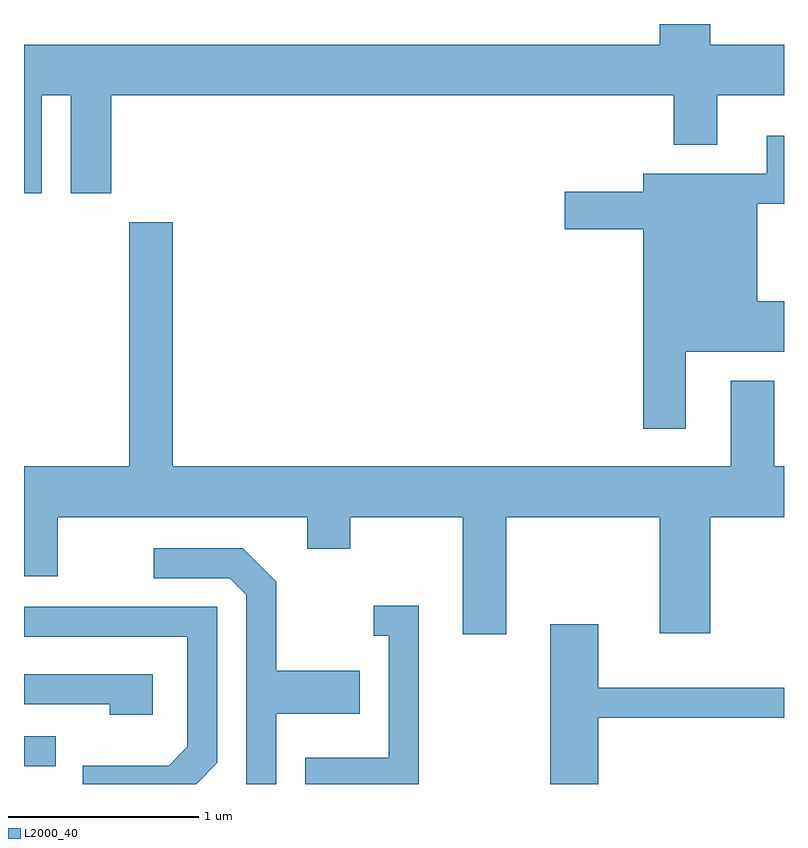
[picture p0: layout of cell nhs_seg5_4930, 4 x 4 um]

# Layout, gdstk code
import gdstk
lib = gdstk.Library(unit=1e-6, precision=1e-09)
def R(c, l, rs):  # rectangles x0, y0, x1, y1
    for r in rs: c.add(gdstk.rectangle(r[:2], r[2:], *l))
def P(c, l, *ps):  # polygons
    for p in ps: c.add(gdstk.Polygon(p, *l))
L2000_40 = (2000, 40)

nhs_seg5_4930 = lib.new_cell('nhs_seg5_4930')
R(nhs_seg5_4930, L2000_40, [(331.611,1442.166,331.778,1442.324)])
P(nhs_seg5_4930, L2000_40, [(331.704,1445.696),(331.856,1445.696),(331.856,1445.181),(332.069,1445.181),(332.069,1445.696),(335.031,1445.696),(335.031,1445.436),(335.259,1445.436),(335.259,1445.696),(335.611,1445.696),(335.611,1445.964),(335.224,1445.964),(335.224,1446.072),(334.956,1446.072),(334.956,1445.964),(331.611,1445.964),(331.611,1445.181),(331.704,1445.181)],
  [(335.094,1444.346),(335.611,1444.346),(335.611,1444.614),(335.469,1444.614),(335.469,1445.126),(335.611,1445.126),(335.611,1445.484),(335.521,1445.484),(335.521,1445.284),(334.871,1445.284),(334.871,1445.189),(334.456,1445.189),(334.456,1444.991),(334.871,1444.991),(334.871,1443.941),(335.094,1443.941)],
  [(334.149,1443.476),(334.956,1443.476),(334.956,1442.866),(335.224,1442.866),(335.224,1443.476),(335.611,1443.476),(335.611,1443.744),(335.559,1443.744),(335.559,1444.194),(335.331,1444.194),(335.331,1443.744),(332.394,1443.744),(332.394,1445.029),(332.166,1445.029),(332.166,1443.744),(331.611,1443.744),(331.611,1443.166),(331.789,1443.166),(331.789,1443.476),(333.101,1443.476),(333.101,1443.311),(333.329,1443.311),(333.329,1443.476),(333.921,1443.476),(333.921,1442.861),(334.149,1442.861)],
  [(332.939,1442.441),(333.379,1442.441),(333.379,1442.669),(332.939,1442.669),(332.939,1443.137),(332.762,1443.314),(332.293,1443.314),(332.293,1443.156),(332.694,1443.156),(332.781,1443.069),(332.781,1442.072),(332.939,1442.072)],
  [(333.689,1443.009),(333.453,1443.009),(333.453,1442.851),(333.531,1442.851),(333.531,1442.209),(333.091,1442.209),(333.091,1442.072),(333.689,1442.072)],
  [(332.629,1442.184),(332.629,1443.004),(331.611,1443.004),(331.611,1442.846),(332.471,1442.846),(332.471,1442.267),(332.374,1442.169),(331.921,1442.169),(331.921,1442.072),(332.518,1442.072)],
  [(334.634,1442.421),(335.611,1442.421),(335.611,1442.579),(334.634,1442.579),(334.634,1442.914),(334.381,1442.914),(334.381,1442.072),(334.634,1442.072)],
  [(332.289,1442.649),(331.611,1442.649),(331.611,1442.491),(332.061,1442.491),(332.061,1442.436),(332.289,1442.436)])

lib.write_gds('nhs_seg5_4930.gds')
